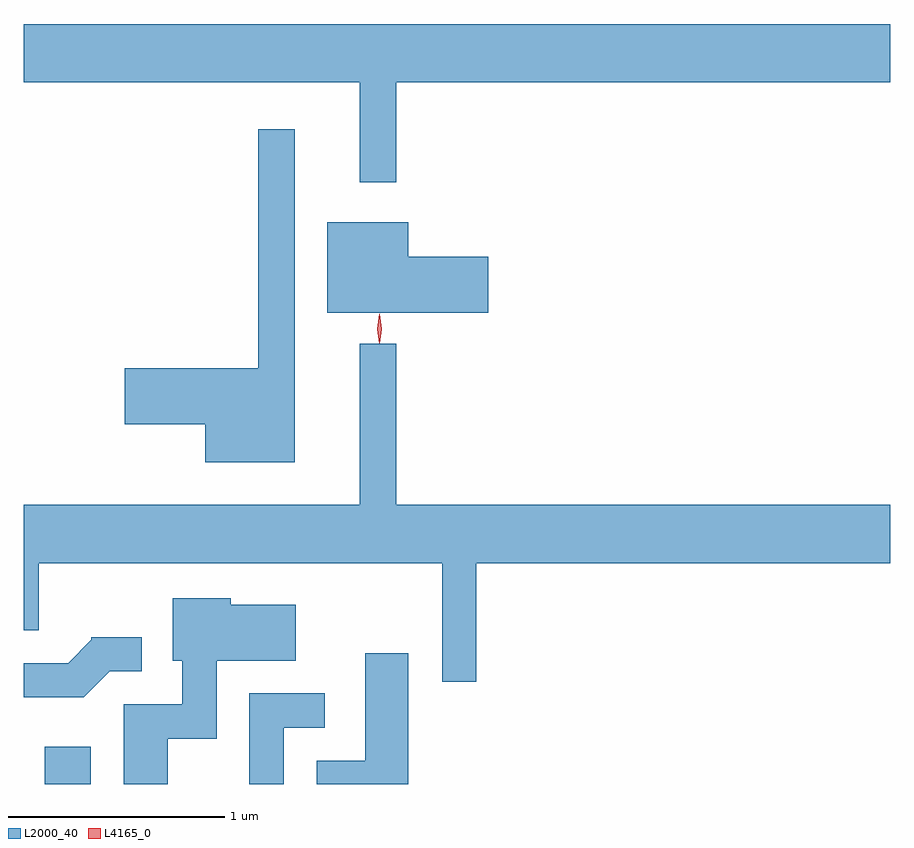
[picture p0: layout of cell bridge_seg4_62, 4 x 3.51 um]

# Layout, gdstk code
import gdstk
lib = gdstk.Library(unit=1e-6, precision=1e-09)
def R(c, l, rs):  # rectangles x0, y0, x1, y1
    for r in rs: c.add(gdstk.rectangle(r[:2], r[2:], *l))
def P(c, l, *ps):  # polygons
    for p in ps: c.add(gdstk.Polygon(p, *l))
L2000_40 = (2000, 40)
L4165_0 = (4165, 0)

bridge_seg4_62 = lib.new_cell('bridge_seg4_62')
R(bridge_seg4_62, L2000_40, [(1278.676,1287.056,1278.889,1287.229)])
P(bridge_seg4_62, L2000_40, [(1280.299,1290.296),(1282.579,1290.296),(1282.579,1290.564),(1278.579,1290.564),(1278.579,1290.296),(1280.131,1290.296),(1280.131,1289.833),(1280.299,1289.833)],
  [(1279.829,1290.078),(1279.661,1290.078),(1279.661,1288.974),(1279.046,1288.974),(1279.046,1288.716),(1279.416,1288.716),(1279.416,1288.541),(1279.829,1288.541)],
  [(1280.724,1289.489),(1280.354,1289.489),(1280.354,1289.649),(1279.981,1289.649),(1279.981,1289.231),(1280.724,1289.231)],
  [(1280.669,1288.076),(1282.579,1288.076),(1282.579,1288.344),(1280.299,1288.344),(1280.299,1289.088),(1280.131,1289.088),(1280.131,1288.344),(1278.579,1288.344),(1278.579,1287.766),(1278.649,1287.766),(1278.649,1288.076),(1280.511,1288.076),(1280.511,1287.528),(1280.669,1287.528)],
  [(1279.244,1287.266),(1279.469,1287.266),(1279.469,1287.626),(1279.834,1287.626),(1279.834,1287.884),(1279.534,1287.884),(1279.534,1287.914),(1279.266,1287.914),(1279.266,1287.626),(1279.311,1287.626),(1279.311,1287.424),(1279.041,1287.424),(1279.041,1287.056),(1279.244,1287.056)],
  [(1278.977,1287.576),(1279.123,1287.576),(1279.123,1287.734),(1278.89,1287.734),(1278.89,1287.721),(1278.784,1287.614),(1278.579,1287.614),(1278.579,1287.456),(1278.857,1287.456)],
  [(1280.354,1287.659),(1280.156,1287.659),(1280.156,1287.164),(1279.931,1287.164),(1279.931,1287.056),(1280.354,1287.056)],
  [(1279.779,1287.316),(1279.968,1287.316),(1279.968,1287.474),(1279.621,1287.474),(1279.621,1287.056),(1279.779,1287.056)])
P(bridge_seg4_62, L4165_0, [(1280.221,1289.09),(1280.212,1289.158),(1280.221,1289.225),(1280.222,1289.226),(1280.222,1289.225),(1280.232,1289.158),(1280.222,1289.09),(1280.222,1289.09)],
  [(1280.221,1289.093),(1280.212,1289.156),(1280.221,1289.219),(1280.222,1289.22),(1280.222,1289.219),(1280.232,1289.156),(1280.222,1289.093),(1280.222,1289.093)])

lib.write_gds('bridge_seg4_62.gds')
